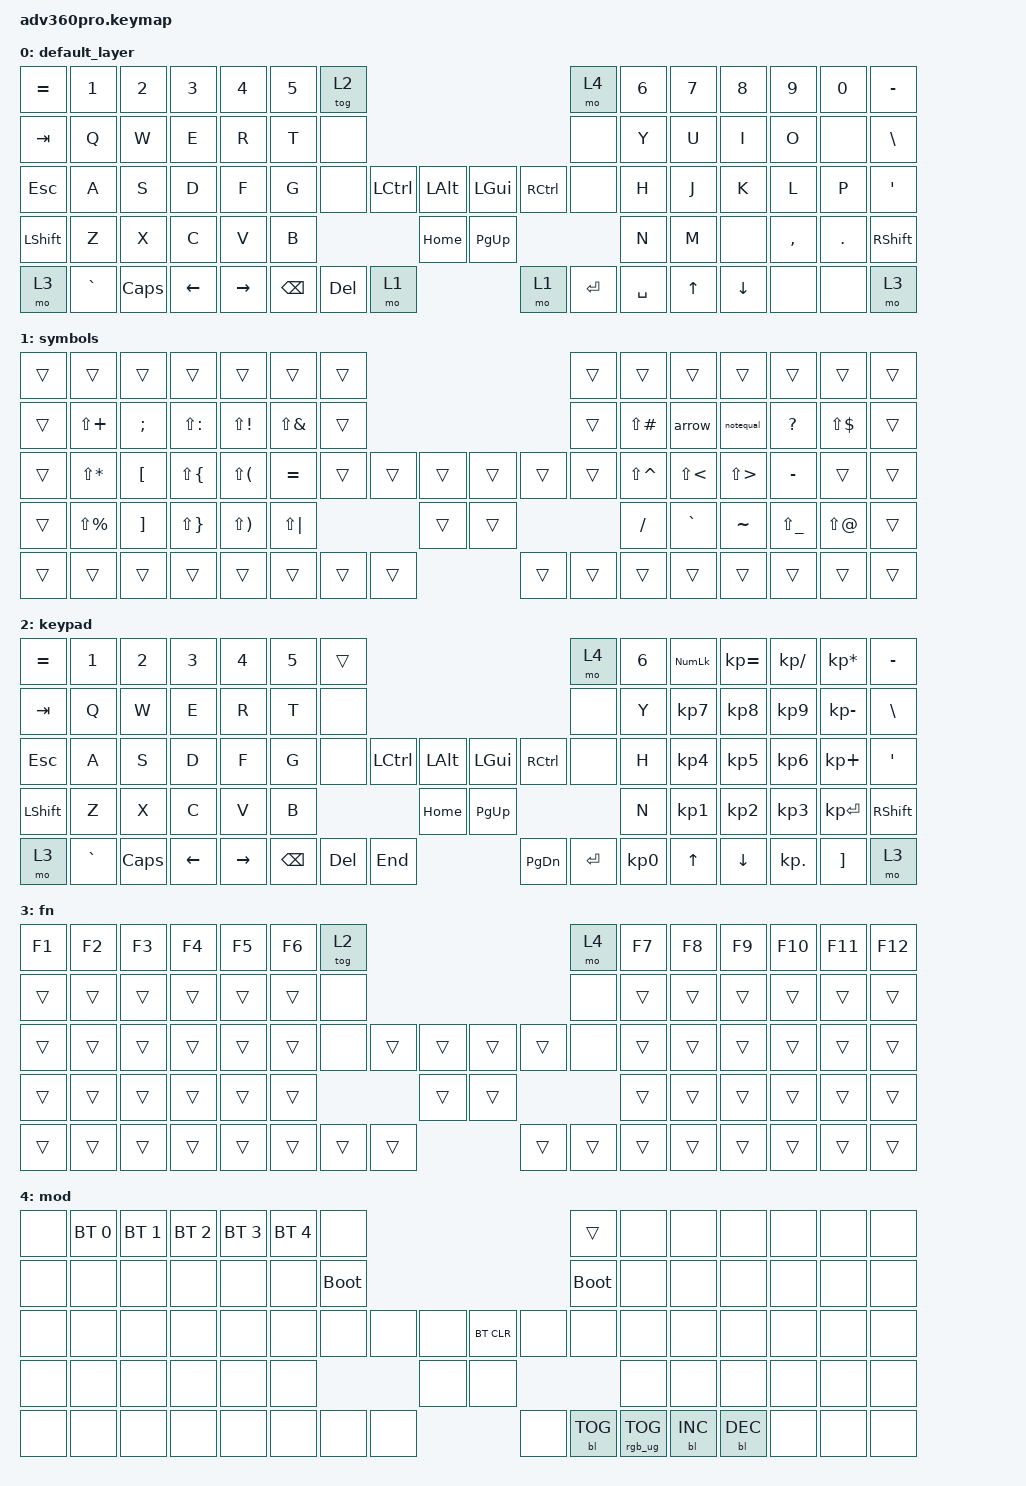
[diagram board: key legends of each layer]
#include <behaviors.dtsi>
#include <dt-bindings/zmk/backlight.h>
#include <dt-bindings/zmk/bt.h>
#include <dt-bindings/zmk/keys.h>
#include <dt-bindings/zmk/rgb.h>

/ {
    macros {
        arrow: arrow {
            compatible = "zmk,behavior-macro";
            #binding-cells = <0>;
            bindings = <&kp EQUAL &kp GT &kp SPACE>;
            label = "ARROW";
        };

        notequal: notequal {
            compatible = "zmk,behavior-macro";
            #binding-cells = <0>;
            bindings = <&kp EXCL &kp EQUAL>;
            label = "NOTEQUAL";
        };
    };

    keymap {
        compatible = "zmk,keymap";

        default_layer {
            bindings = <
&kp EQUAL  &kp N1     &kp N2    &kp N3    &kp N4     &kp N5  &tog 2                                                                    &mo 4  &kp N6  &kp N7  &kp N8    &kp N9     &kp N0   &kp MINUS
&kp TAB    &kp Q      &kp W     &kp E     &kp R      &kp T   &none                                                                     &none  &kp Y   &kp U   &kp I     &kp O      &none    &kp BSLH
&kp ESC    &kp A      &kp S     &kp D     &kp F      &kp G   &none             &kp LCTRL  &kp LALT    &kp LGUI   &kp RCTRL             &none  &kp H   &kp J   &kp K     &kp L      &kp P    &kp SQT
&kp LSHFT  &kp Z      &kp X     &kp C     &kp V      &kp B                                &kp HOME    &kp PG_UP                               &kp N   &kp M   &none     &kp COMMA  &kp DOT  &kp RSHFT
&mo 3      &kp GRAVE  &kp CAPS  &kp LEFT  &kp RIGHT                  &kp BSPC  &kp DEL    &mo 1       &mo 1      &kp ENTER  &kp SPACE                 &kp UP  &kp DOWN  &none      &none    &mo 3
            >;
        };

        symbols {
            bindings = <
&trans  &trans         &trans    &trans         &trans        &trans        &trans                                                    &trans  &trans         &trans      &trans      &trans         &trans        &trans
&trans  &kp LS(PLUS)   &kp SEMI  &kp LS(COLON)  &kp LS(EXCL)  &kp LS(AMPS)  &trans                                                    &trans  &kp LS(POUND)  &arrow      &notequal   &kp QUESTION   &kp LS(DLLR)  &trans
&trans  &kp LS(STAR)   &kp LBKT  &kp LS(LBRC)   &kp LS(LPAR)  &kp EQUAL     &trans          &trans  &trans    &trans  &trans          &trans  &kp LS(CARET)  &kp LS(LT)  &kp LS(GT)  &kp MINUS      &trans        &trans
&trans  &kp LS(PRCNT)  &kp RBKT  &kp LS(RBRC)   &kp LS(RPAR)  &kp LS(PIPE)                          &trans    &trans                          &kp SLASH      &kp GRAVE   &kp TILDE   &kp LS(UNDER)  &kp LS(AT)    &trans
&trans  &trans         &trans    &trans         &trans                              &trans  &trans  &trans    &trans  &trans  &trans                         &trans      &trans      &trans         &trans        &trans
            >;
        };

        keypad {
            bindings = <
&kp EQUAL  &kp N1     &kp N2    &kp N3    &kp N4     &kp N5  &trans                                                                    &mo 4  &kp N6  &kp KP_NUM  &kp KP_EQUAL  &kp KP_DIVIDE  &kp KP_MULTIPLY  &kp MINUS
&kp TAB    &kp Q      &kp W     &kp E     &kp R      &kp T   &none                                                                     &none  &kp Y   &kp KP_N7   &kp KP_N8     &kp KP_N9      &kp KP_MINUS     &kp BSLH
&kp ESC    &kp A      &kp S     &kp D     &kp F      &kp G   &none             &kp LCTRL  &kp LALT    &kp LGUI   &kp RCTRL             &none  &kp H   &kp KP_N4   &kp KP_N5     &kp KP_N6      &kp KP_PLUS      &kp SQT
&kp LSHFT  &kp Z      &kp X     &kp C     &kp V      &kp B                                &kp HOME    &kp PG_UP                               &kp N   &kp KP_N1   &kp KP_N2     &kp KP_N3      &kp KP_ENTER     &kp RSHFT
&mo 3      &kp GRAVE  &kp CAPS  &kp LEFT  &kp RIGHT                  &kp BSPC  &kp DEL    &kp END     &kp PG_DN  &kp ENTER  &kp KP_N0                 &kp UP      &kp DOWN      &kp KP_DOT     &kp RBKT         &mo 3
            >;
        };

        fn {
            bindings = <
&kp F1  &kp F2  &kp F3  &kp F4  &kp F5  &kp F6  &tog 2                                                    &mo 4  &kp F7  &kp F8  &kp F9  &kp F10  &kp F11  &kp F12
&trans  &trans  &trans  &trans  &trans  &trans  &none                                                     &none  &trans  &trans  &trans  &trans   &trans   &trans
&trans  &trans  &trans  &trans  &trans  &trans  &none           &trans  &trans    &trans  &trans          &none  &trans  &trans  &trans  &trans   &trans   &trans
&trans  &trans  &trans  &trans  &trans  &trans                          &trans    &trans                         &trans  &trans  &trans  &trans   &trans   &trans
&trans  &trans  &trans  &trans  &trans                  &trans  &trans  &trans    &trans  &trans  &trans                 &trans  &trans  &trans   &trans   &trans
            >;
        };

        mod {
            bindings = <
&none  &bt BT_SEL 0  &bt BT_SEL 1  &bt BT_SEL 2  &bt BT_SEL 3  &bt BT_SEL 4  &none                                                                        &trans       &none  &none       &none       &none  &none  &none
&none  &none         &none         &none         &none         &none         &bootloader                                                                  &bootloader  &none  &none       &none       &none  &none  &none
&none  &none         &none         &none         &none         &none         &none               &none  &none    &bt BT_CLR  &none                        &none        &none  &none       &none       &none  &none  &none
&none  &none         &none         &none         &none         &none                                    &none    &none                                                 &none  &none       &none       &none  &none  &none
&none  &none         &none         &none         &none                                    &none  &none  &none    &none       &bl BL_TOG  &rgb_ug RGB_TOG                      &bl BL_INC  &bl BL_DEC  &none  &none  &none
            >;
        };
    };
};
